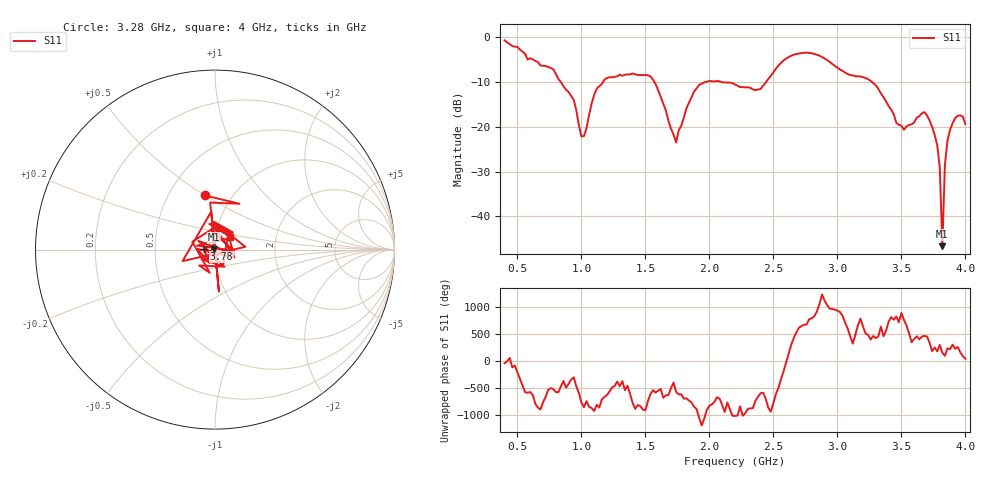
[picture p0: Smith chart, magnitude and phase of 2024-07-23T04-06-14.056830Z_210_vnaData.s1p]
!Created with skrf (http://scikit-rf.org).
# Hz S RI R 50.0
!freq ReS11 ImS11
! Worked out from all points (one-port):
!   181 points, 400 MHz to 4 GHz, reference 50 ohm
!   lowest |S11| = -46.6 dB at 3.82 GHz (marker M1), VSWR 1.01, Z = 49.6 + j0.229 ohm
!   |S11| at or under -10 dB: 1.569 GHz to 1.976 GHz (407.1 MHz wide, 23 % of centre); 2.091 GHz to 2.444 GHz (353.1 MHz wide, 15.6 % of centre); 3.269 GHz to end of sweep (the widest 3 of 4)
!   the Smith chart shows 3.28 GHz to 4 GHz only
!   S11 on the Smith chart (normalised r, x): 3.28 GHz: 0.75, +0.50; 3.78 GHz: 0.88, +0.01; 4 GHz: 1.17, +0.16
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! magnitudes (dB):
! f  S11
! 400 MHz  -0.8
! 780 MHz  -7.2
! 860 MHz  -11.0
! 940 MHz  -14.0
! 1 GHz  -22.2
! 1.02 GHz  -22.1
! 1.12 GHz  -11.5
! 1.3 GHz  -8.4
! 1.54 GHz  -8.8
! 1.74 GHz  -23.5
! 1.76 GHz  -20.8
! 1.92 GHz  -10.7
! 2.2 GHz  -10.6
! 2.4 GHz  -11.6
! 2.66 GHz  -3.9
! 2.86 GHz  -4.2
! 3.1 GHz  -8.5
! 3.28 GHz  -10.3
! 3.46 GHz  -19.1
! 3.56 GHz  -19.6
! 3.68 GHz  -16.7
! 3.78 GHz  -24.1
! 3.8 GHz  -29.1
! 3.82 GHz  -46.6
! 3.84 GHz  -28.4
! 3.86 GHz  -23.1
! 3.92 GHz  -18.1
! 4 GHz  -19.4
